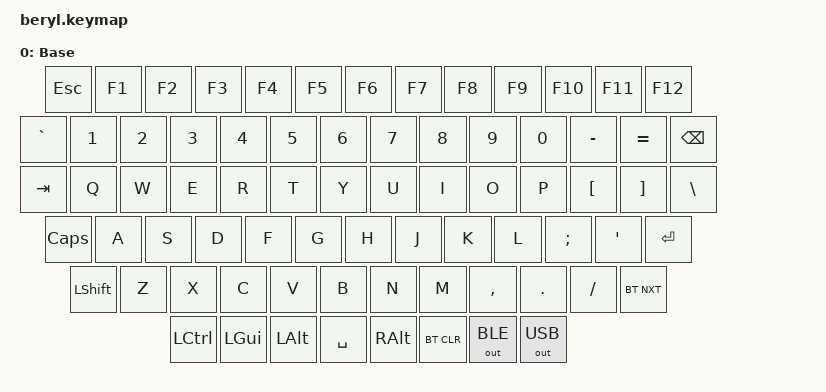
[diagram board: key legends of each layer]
#include <behaviors.dtsi>
#include <dt-bindings/zmk/keys.h>
#include <dt-bindings/zmk/bt.h>
#include <dt-bindings/zmk/outputs.h>
/ {
    keymap {
        compatible = "zmk,keymap";

        default_layer {
			display-name = "Base";
			// ------------------------------------------------------------------------------------------
			// | ESC |  1  |  2  |  3  |  4  |  5  |  6  |  7  |  8  |  9  |  0  |  -  |  =  |   BSPC   |
			// | TAB  |  Q  |  W  |  E  |  R  |  T  |  Y  |  U  |  I  |  O  |  P  |  [  |  ]  |   "|"   |
			// | CAPS  |  A  |  S  |  D  |  F  |  G  |  H  |  J  |  K  |  L  |  ;  |  '  |     ENTER    |
			// |  SHIFT  |  Z  |  X  |  C  |  V  |  B  |  N  |  M  |  ,  |  .  |  /  |      SHIFT       |
			// |  CTL  |  WIN  |  ALT  |            SPACE              |  ALT  |  WIN  |  MO(1) |  CTL  |
			// ------------------------------------------------------------------------------------------
            bindings = <
				&kp ESC &kp F1 &kp F2 &kp F3 &kp F4 &kp F5 &kp F6 &kp F7 &kp F8 &kp F9 &kp F10 &kp F11 &kp F12 
				&kp GRAVE  &kp N1 &kp N2 &kp N3 &kp N4 &kp N5 &kp N6 &kp N7 &kp N8 &kp N9 &kp N0 &kp MINUS &kp EQUAL  &kp BSPC
				&kp TAB  &kp Q  &kp W  &kp E  &kp R  &kp T  &kp Y  &kp U  &kp I  &kp O  &kp P  &kp LBKT  &kp RBKT  &kp BSLH
				&kp CLCK  &kp A  &kp S  &kp D  &kp F  &kp G  &kp H  &kp J  &kp K  &kp L  &kp SEMI &kp SQT           &kp RET
				&kp LSHFT   &kp Z  &kp X  &kp C  &kp V  &kp B  &kp N  &kp M  &kp COMMA &kp DOT &kp FSLH           &bt BT_NXT
				&kp LCTRL &kp LGUI &kp LALT             &kp SPACE                     &kp RALT    &bt BT_CLR &out OUT_BLE &out OUT_USB
            >;
        };
    };
};
